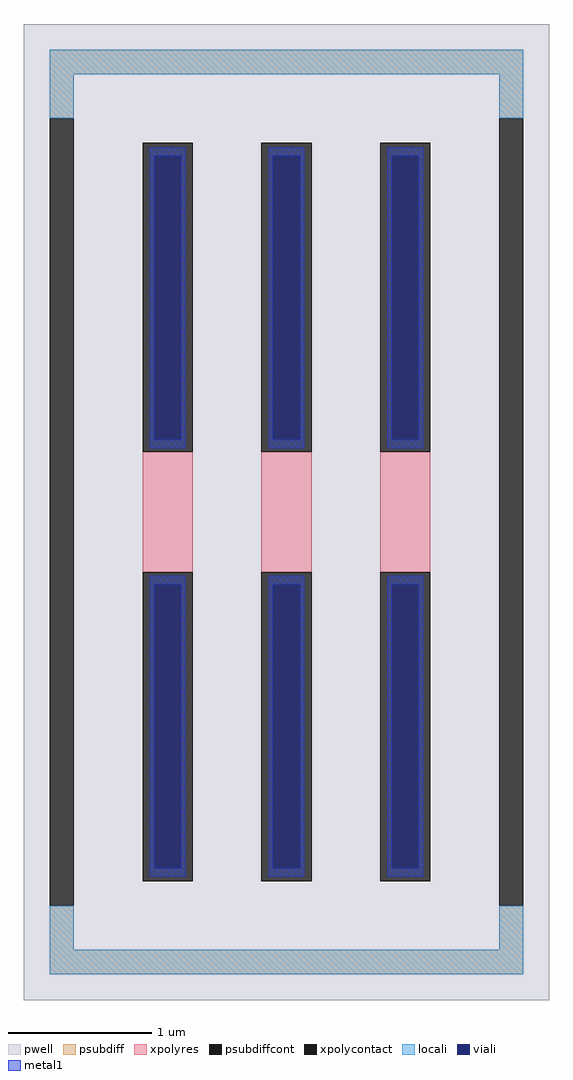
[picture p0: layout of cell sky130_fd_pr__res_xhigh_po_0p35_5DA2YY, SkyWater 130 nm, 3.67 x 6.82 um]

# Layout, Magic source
magic
tech sky130A
magscale 1 2
<< pwell >>
rect -367 -682 367 682
<< psubdiff >>
rect -331 612 331 646
rect -331 550 -297 612
rect 297 550 331 612
rect -331 -612 -297 -550
rect 297 -612 331 -550
rect -331 -646 331 -612
<< psubdiffcont >>
rect -331 -550 -297 550
rect 297 -550 331 550
<< xpolycontact >>
rect -201 84 -131 516
rect -201 -516 -131 -84
rect -35 84 35 516
rect -35 -516 35 -84
rect 131 84 201 516
rect 131 -516 201 -84
<< xpolyres >>
rect -201 -84 -131 84
rect -35 -84 35 84
rect 131 -84 201 84
<< locali >>
rect -331 612 331 646
rect -331 550 -297 612
rect 297 550 331 612
rect -331 -612 -297 -550
rect 297 -612 331 -550
rect -331 -646 331 -612
<< viali >>
rect -185 101 -147 498
rect -19 101 19 498
rect 147 101 185 498
rect -185 -498 -147 -101
rect -19 -498 19 -101
rect 147 -498 185 -101
<< metal1 >>
rect -191 498 -141 510
rect -191 101 -185 498
rect -147 101 -141 498
rect -191 89 -141 101
rect -25 498 25 510
rect -25 101 -19 498
rect 19 101 25 498
rect -25 89 25 101
rect 141 498 191 510
rect 141 101 147 498
rect 185 101 191 498
rect 141 89 191 101
rect -191 -101 -141 -89
rect -191 -498 -185 -101
rect -147 -498 -141 -101
rect -191 -510 -141 -498
rect -25 -101 25 -89
rect -25 -498 -19 -101
rect 19 -498 25 -101
rect -25 -510 25 -498
rect 141 -101 191 -89
rect 141 -498 147 -101
rect 185 -498 191 -101
rect 141 -510 191 -498
<< properties >>
string FIXED_BBOX -314 -629 314 629
string gencell sky130_fd_pr__res_xhigh_po_0p35
string library sky130
string parameters w 0.350 l 1 m 1 nx 3 wmin 0.350 lmin 0.50 rho 2000 val 6.789k dummy 0 dw 0.0 term 188.2 sterm 0.0 caplen 0 wmax 0.350 guard 1 glc 1 grc 1 gtc 0 gbc 0 compatible {sky130_fd_pr__res_xhigh_po_0p35  sky130_fd_pr__res_xhigh_po_0p69 sky130_fd_pr__res_xhigh_po_1p41  sky130_fd_pr__res_xhigh_po_2p85 sky130_fd_pr__res_xhigh_po_5p73} snake 0 full_metal 1 n_guard 0 hv_guard 0 vias 1 viagb 0 viagt 0 viagl 0 viagr 0
<< end >>
